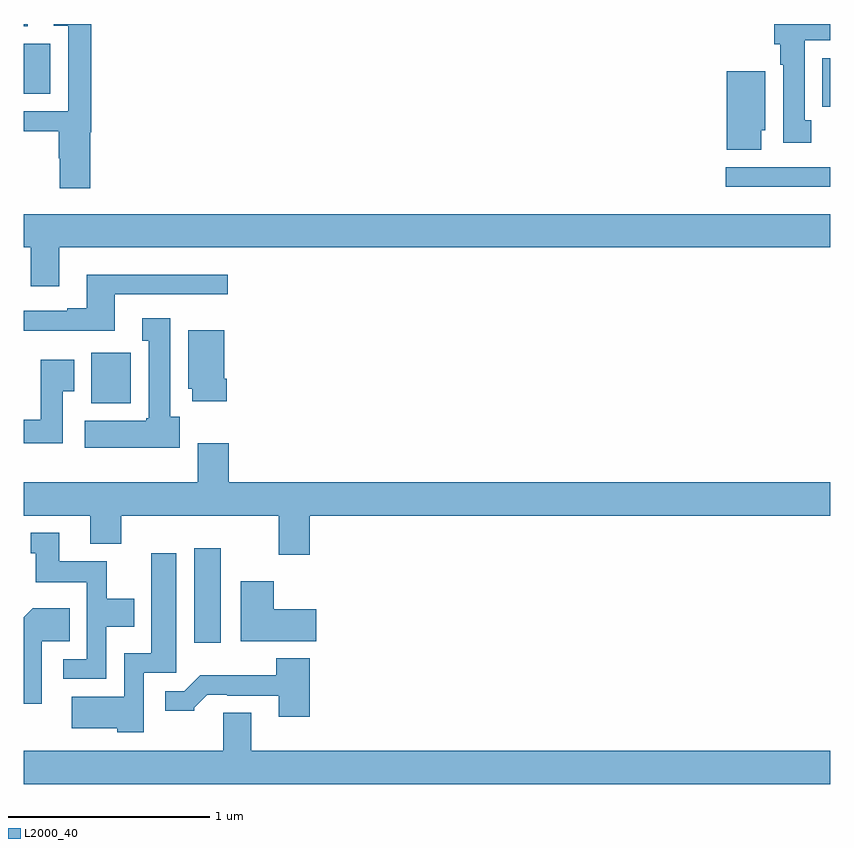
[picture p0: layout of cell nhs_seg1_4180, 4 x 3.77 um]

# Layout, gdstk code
import gdstk
lib = gdstk.Library(unit=1e-6, precision=1e-09)
def R(c, l, rs):  # rectangles x0, y0, x1, y1
    for r in rs: c.add(gdstk.rectangle(r[:2], r[2:], *l))
def P(c, l, *ps):  # polygons
    for p in ps: c.add(gdstk.Polygon(p, *l))
L2000_40 = (2000, 40)

nhs_seg1_4180 = lib.new_cell('nhs_seg1_4180')
R(nhs_seg1_4180, L2000_40, [(339.845,523.128,339.976,523.597), (339.335,524.318,339.531,524.569), (342.483,525.392,343,525.489), (342.962,525.788,343,526.03), (339,525.854,339.13,526.102), (339,526.187,339.019,526.199)])
P(nhs_seg1_4180, L2000_40, [(339.329,525.662),(339.335,525.662),(339.335,526.199),(339.147,526.199),(339.147,526.191),(339.219,526.191),(339.219,525.765),(339,525.765),(339,525.668),(339.172,525.668),(339.172,525.534),(339.179,525.534),(339.179,525.384),(339.329,525.384)],
  [(342.907,525.722),(342.874,525.722),(342.874,526.118),(343,526.118),(343,526.199),(342.722,526.199),(342.722,526.098),(342.752,526.098),(342.752,525.998),(342.767,525.998),(342.767,525.609),(342.907,525.609)],
  [(342.658,525.672),(342.679,525.672),(342.679,525.964),(342.488,525.964),(342.488,525.574),(342.658,525.574)],
  [(339.175,525.092),(343,525.092),(343,525.256),(339,525.256),(339,525.092),(339.035,525.092),(339.035,524.898),(339.175,524.898)],
  [(339.451,524.859),(340.012,524.859),(340.012,524.956),(339.311,524.956),(339.311,524.788),(339.215,524.788),(339.215,524.775),(339,524.775),(339,524.678),(339.451,524.678)],
  [(339.772,524.25),(339.727,524.25),(339.727,524.74),(339.587,524.74),(339.587,524.627),(339.62,524.627),(339.62,524.244),(339.607,524.244),(339.607,524.23),(339.303,524.23),(339.303,524.096),(339.772,524.096)],
  [(340.007,524.44),(339.994,524.44),(339.994,524.68),(339.815,524.68),(339.815,524.388),(339.836,524.388),(339.836,524.328),(340.007,524.328)],
  [(339.193,524.377),(339.25,524.377),(339.25,524.533),(339.083,524.533),(339.083,524.236),(339,524.236),(339,524.118),(339.193,524.118)],
  [(340.418,523.76),(343,523.76),(343,523.924),(340.016,523.924),(340.016,524.119),(339.863,524.119),(339.863,523.924),(339,523.924),(339,523.76),(339.329,523.76),(339.329,523.619),(339.482,523.619),(339.482,523.76),(340.265,523.76),(340.265,523.566),(340.418,523.566)],
  [(339.408,523.208),(339.547,523.208),(339.547,523.348),(339.411,523.348),(339.411,523.534),(339.175,523.534),(339.175,523.675),(339.035,523.675),(339.035,523.572),(339.059,523.572),(339.059,523.43),(339.312,523.43),(339.312,523.047),(339.195,523.047),(339.195,522.951),(339.408,522.951)],
  [(339.594,522.981),(339.757,522.981),(339.757,523.573),(339.632,523.573),(339.632,523.078),(339.498,523.078),(339.498,522.862),(339.237,522.862),(339.237,522.704),(339.462,522.704),(339.462,522.686),(339.594,522.686)],
  [(340.45,523.294),(340.24,523.294),(340.24,523.435),(340.076,523.435),(340.076,523.136),(340.45,523.136)],
  [(339.088,523.136),(339.227,523.136),(339.227,523.3),(339.044,523.3),(339,523.256),(339,522.825),(339.088,522.825)],
  [(340.418,523.051),(340.253,523.051),(340.253,522.967),(339.874,522.967),(339.795,522.888),(339.702,522.888),(339.702,522.791),(339.846,522.791),(339.846,522.806),(339.91,522.87),(340.009,522.87),(340.009,522.867),(340.265,522.867),(340.265,522.762),(340.418,522.762)],
  [(343,522.592),(340.129,522.592),(340.129,522.782),(339.989,522.782),(339.989,522.592),(339,522.592),(339,522.428),(343,522.428)])

lib.write_gds('nhs_seg1_4180.gds')
